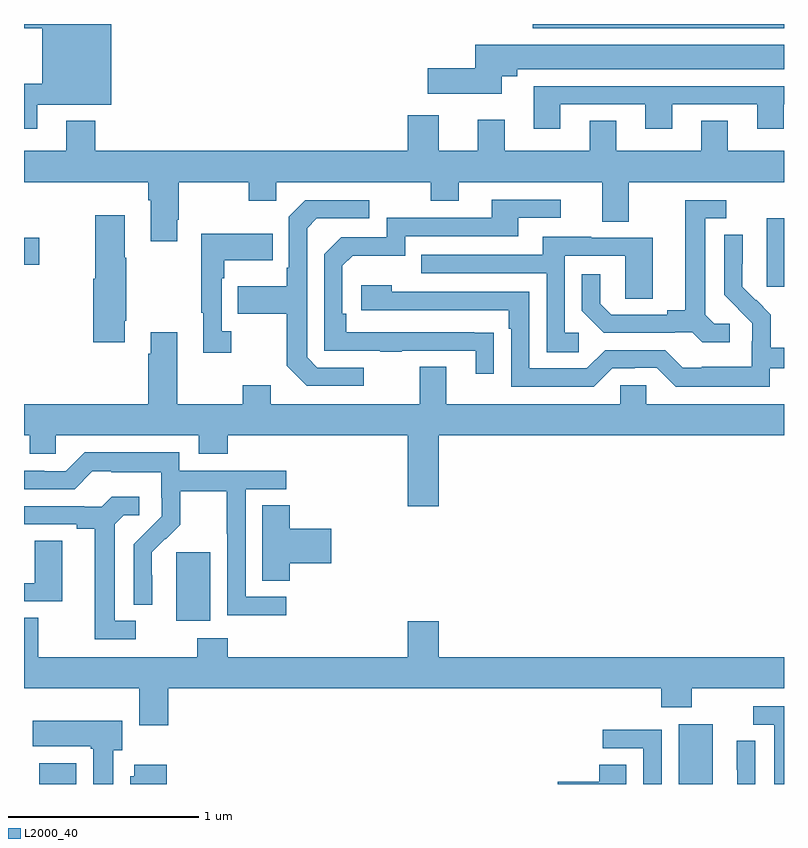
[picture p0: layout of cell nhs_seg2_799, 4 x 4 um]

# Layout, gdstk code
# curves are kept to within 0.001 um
import gdstk
lib = gdstk.Library(unit=1e-6, precision=1e-09)
def R(c, l, rs):  # rectangles x0, y0, x1, y1
    for r in rs: c.add(gdstk.rectangle(r[:2], r[2:], *l))
def P(c, l, *ps):  # polygons
    for p in ps: c.add(gdstk.Polygon(p, *l))
L2000_40 = (2000, 40)

nhs_seg2_799 = lib.new_cell('nhs_seg2_799')
R(nhs_seg2_799, L2000_40, [(151.079,645.8,151.276,645.91), (154.445,645.8,154.624,646.114), (151.802,646.658,151.981,647.019), (154.91,648.417,155,648.778), (151,648.533,151.081,648.675), (153.677,649.778,155,649.8)])
P(nhs_seg2_799, L2000_40, [(151.069,649.376),(151.459,649.376),(151.459,649.8),(151,649.8),(151,649.778),(151.097,649.778),(151.097,649.486),(151,649.486),(151,649.248),(151.069,649.248)],
  [(153.514,649.526),(153.595,649.526),(153.595,649.562),(155,649.562),(155,649.69),(153.374,649.69),(153.374,649.568),(153.126,649.568),(153.126,649.433),(153.514,649.433)],
  [(153.823,649.377),(154.271,649.377),(154.271,649.248),(154.411,649.248),(154.411,649.377),(154.859,649.377),(154.859,649.248),(154.999,649.248),(154.999,649.377),(155,649.377),(155,649.473),(153.683,649.473),(153.683,649.248),(153.823,649.248)],
  [(151.223,649.291),(151.223,649.132),(151,649.132),(151,648.968),(151.655,648.968),(151.655,648.872),(151.667,648.872),(151.667,648.657),(151.807,648.657),(151.807,648.769),(151.815,648.769),(151.815,648.968),(152.182,648.968),(152.182,648.869),(152.328,648.869),(152.328,648.968),(153.142,648.968),(153.142,648.869),(153.289,648.869),(153.289,648.968),(154.043,648.968),(154.043,648.76),(154.183,648.76),(154.183,648.968),(155,648.968),(155,649.132),(154.705,649.132),(154.705,649.292),(154.565,649.292),(154.565,649.132),(154.117,649.132),(154.117,649.292),(153.977,649.292),(153.977,649.132),(153.529,649.132),(153.529,649.297),(153.389,649.297),(153.389,649.132),(153.184,649.132),(153.184,649.321),(153.02,649.321),(153.02,649.132),(151.376,649.132),(151.376,649.291)],
  [(153.473,648.176),(152.696,648.177),(152.696,648.274),(152.676,648.274),(152.676,648.528),(152.729,648.581),(153.006,648.581),(153.006,648.684),(153.601,648.684),(153.601,648.78),(153.826,648.78),(153.826,648.876),(153.461,648.876),(153.461,648.78),(152.91,648.78),(152.91,648.678),(152.67,648.678),(152.58,648.588),(152.58,648.081),(152.875,648.081),(152.875,648.076),(152.987,648.076),(152.987,648.081),(153.377,648.081),(153.377,647.958),(153.473,647.958)],
  [(152.788,647.991),(152.544,647.991),(152.49,648.045),(152.49,648.726),(152.541,648.777),(152.818,648.777),(152.818,648.873),(152.481,648.873),(152.394,648.786),(152.394,648.517),(152.382,648.517),(152.382,648.421),(152.125,648.421),(152.125,648.274),(152.382,648.274),(152.382,648.001),(152.487,647.895),(152.788,647.895)],
  [(154.714,648.222),(154.632,648.222),(154.585,648.269),(154.585,648.777),(154.696,648.777),(154.696,648.873),(154.481,648.873),(154.481,648.293),(154.385,648.293),(154.385,648.27),(154.09,648.27),(154.033,648.327),(154.033,648.484),(153.936,648.484),(153.936,648.29),(154.052,648.174),(154.424,648.174),(154.424,648.177),(154.518,648.177),(154.57,648.125),(154.714,648.125)],
  [(151.531,648.238),(151.539,648.238),(151.539,648.569),(151.531,648.569),(151.531,648.793),(151.376,648.793),(151.376,648.459),(151.364,648.459),(151.364,648.126),(151.531,648.126)],
  [(152.092,648.182),(152.04,648.182),(152.04,648.461),(152.053,648.461),(152.053,648.557),(152.309,648.557),(152.309,648.697),(151.932,648.697),(151.932,648.281),(151.943,648.281),(151.943,648.069),(152.092,648.069)],
  [(154.926,647.988),(155,647.988),(155,648.097),(154.931,648.097),(154.931,648.271),(154.854,648.348),(154.851,648.345),(154.781,648.416),(154.782,648.692),(154.686,648.692),(154.686,648.374),(154.832,648.226),(154.832,648.129),(154.83,648.129),(154.83,647.995),(154.567,647.995),(154.567,647.991),(154.467,647.991),(154.374,648.084),(154.059,648.084),(153.963,647.988),(153.66,647.988),(153.66,648.39),(152.936,648.39),(152.936,648.424),(152.775,648.424),(152.775,648.294),(153.551,648.294),(153.551,648.197),(153.564,648.197),(153.564,647.892),(153.999,647.892),(154.095,647.988),(154.214,647.988),(154.214,647.991),(154.329,647.991),(154.429,647.891),(154.926,647.891)],
  [(153.919,648.174),(153.846,648.174),(153.846,648.579),(154.164,648.579),(154.164,648.355),(154.309,648.355),(154.309,648.675),(153.985,648.675),(153.985,648.679),(153.731,648.679),(153.731,648.585),(153.091,648.585),(153.091,648.489),(153.75,648.489),(153.75,648.073),(153.919,648.073)],
  [(153.184,647.636),(155,647.636),(155,647.8),(154.275,647.8),(154.275,647.898),(154.137,647.898),(154.137,647.8),(153.223,647.8),(153.223,647.995),(153.083,647.995),(153.083,647.8),(152.299,647.8),(152.299,647.899),(152.152,647.899),(152.152,647.8),(151.807,647.8),(151.807,648.178),(151.667,648.178),(151.667,648.065),(151.655,648.065),(151.655,647.8),(151,647.8),(151,647.636),(151.029,647.636),(151.029,647.538),(151.167,647.538),(151.167,647.636),(151.919,647.636),(151.919,647.537),(152.072,647.537),(152.072,647.636),(153.02,647.636),(153.02,647.262),(153.184,647.262)],
  [(152.38,646.785),(152.166,646.785),(152.166,647.352),(152.38,647.352),(152.38,647.448),(151.818,647.448),(151.818,647.545),(151.321,647.545),(151.221,647.445),(151.106,647.445),(151.106,647.448),(151,647.448),(151,647.352),(151.266,647.352),(151.359,647.445),(151.459,647.445),(151.459,647.441),(151.722,647.441),(151.722,647.307),(151.724,647.307),(151.724,647.21),(151.578,647.062),(151.578,646.744),(151.674,646.744),(151.673,647.021),(151.743,647.091),(151.746,647.088),(151.823,647.165),(151.823,647.34),(152.068,647.34),(152.068,647.116),(152.07,647.116),(152.07,646.687),(152.38,646.687)],
  [(151.588,646.659),(151.477,646.659),(151.477,647.167),(151.524,647.214),(151.606,647.214),(151.606,647.311),(151.462,647.311),(151.41,647.259),(151.316,647.259),(151.316,647.262),(151,647.262),(151,647.166),(151.277,647.166),(151.277,647.144),(151.373,647.144),(151.373,646.563),(151.588,646.563)],
  [(152.399,646.961),(152.617,646.961),(152.617,647.144),(152.399,647.144),(152.399,647.267),(152.255,647.267),(152.255,646.87),(152.399,646.87)],
  [(151.201,647.081),(151.056,647.081),(151.056,646.857),(151,646.857),(151,646.761),(151.201,646.761)],
  [(151.76,646.304),(154.355,646.304),(154.355,646.205),(154.515,646.205),(154.515,646.304),(155,646.304),(155,646.468),(153.184,646.468),(153.184,646.657),(153.02,646.657),(153.02,646.468),(152.072,646.468),(152.072,646.567),(151.912,646.567),(151.912,646.468),(151.075,646.468),(151.075,646.676),(151,646.676),(151,646.304),(151.607,646.304),(151.607,646.11),(151.76,646.11)],
  [(155,646.209),(154.839,646.209),(154.839,646.113),(154.949,646.113),(154.949,645.8),(155,645.8)],
  [(151.471,645.978),(151.516,645.978),(151.516,646.132),(151.047,646.132),(151.047,645.998),(151.351,645.998),(151.351,645.985),(151.364,645.985),(151.364,645.8),(151.471,645.8)],
  [(154.356,646.086),(154.047,646.086),(154.047,645.987),(154.26,645.987),(154.26,645.8),(154.356,645.8)],
  [(154.848,646.028),(154.752,646.028),(154.752,645.874),(154.754,645.874),(154.754,645.8),(154.848,645.8)],
  [(154.171,645.902),(154.028,645.902),(154.028,645.812),(153.81,645.812),(153.81,645.8),(154.171,645.8)],
  [(151.751,645.901),(151.58,645.901),(151.58,645.84),(151.559,645.84),(151.559,645.8),(151.751,645.8)])

lib.write_gds('nhs_seg2_799.gds')
